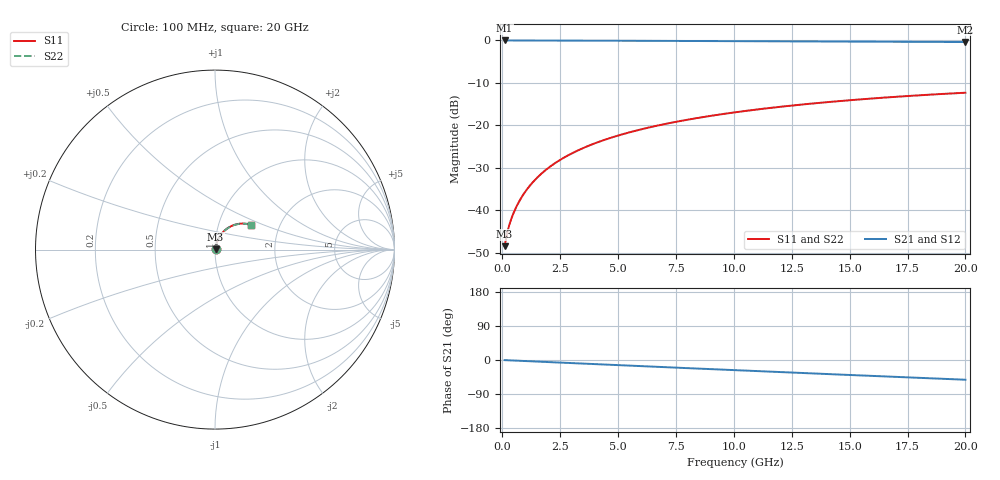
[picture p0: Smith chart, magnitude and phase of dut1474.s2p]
! Touchstone file exported from HFSS 2026.1.0
!  File:  C:/ffzhzh/LocalFiles/Ansys_Project_Files/temp_train_BSMRDL_1474_1783181142_43440.aedt
!  Generated:  12:07:02 AM Jul  5, 2026
!  Design:  BSMRDL
!  Project:  temp_train_BSMRDL_1474_1783181142_43440
! Variables:
!  h_bsmrdl = 3.75um
!  h_ox = 20um
!  h_rdl = 5um
!  h_sub = 80um
!  h_tmrdl = 5um
!  h_tsv = 80um
!  h_via = 3um
!  l_bsmrdl = 880.7um
!  l_sub = 1280.7um
!  l_tmrdl = 200um
!  m_sub = 200um
!  pitch = 41.72um
!  r_tsv = 6um
!  s_tmrdl = 10um
!  w_bsmrdl = 29.12um
!  w_sub = 500um
!  w_tmrdl = 12um
!  x_tsv_center1 = 206um
!  x_tsv_center2 = 1115.82um
!  x_tsv_center3 = 1327.82um
!  x_tsv_center4 = 2237.64um
!  x_tsv_center5 = 2449.64um
!  x_tsv_center6 = 3359.46um
# GHz S MA R 50.000000
! Terminal data exported
! Port[1] = BSM_RDL1_1_T1
! Port[2] = BSM_RDL1_1_T2
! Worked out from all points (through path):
!   200 points, 100 MHz to 20 GHz, reference 50 ohm
!   highest |S21| = -0.03 dB at 100 MHz (marker M1); lowest = -0.4 dB at 20 GHz (marker M2)
!   group delay of S21, straight-line fit = 7.22 ps
!   lowest |S11| = -48.4 dB at 100 MHz (marker M3), VSWR 1.01, Z = 50.3 + j0.206 ohm
!   |S11| at or under -10 dB: start of sweep to end of sweep
!   |S22| runs from -48.4 to -12.3 dB; largest |S21 - S12| = 9.3e-15
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0.1  0.003794 32.7  0.9968 -0.3  0.9968 -0.3  0.003794 32.7
! Gamma 0 0 0 0
! Port Impedance 50 0 50 0
0.2  0.005254 47.1  0.9965 -0.6  0.9965 -0.6  0.005254 47.1
0.3  0.006712 54.1  0.9961 -0.9  0.9961 -0.9  0.006712 54.1
0.4  0.008116 58.6  0.9959 -1.1  0.9959 -1.1  0.008117 58.6
0.5  0.009508 62.1  0.9957 -1.4  0.9957 -1.4  0.009509 62.1
0.6  0.01091 64.8  0.9956 -1.7  0.9956 -1.7  0.01091 64.8
0.8  0.01377 68.7  0.9954 -2.2  0.9954 -2.2  0.01378 68.7
1  0.0167 71.2  0.9952 -2.8  0.9952 -2.8  0.0167 71.1
1.2  0.01968 72.8  0.9951 -3.3  0.9951 -3.3  0.01968 72.8
1.4  0.02268 73.8  0.9949 -3.8  0.9949 -3.8  0.02268 73.8
1.7  0.02721 74.8  0.9946 -4.7  0.9946 -4.7  0.02721 74.7
2.2  0.03477 75.2  0.9941 -6.0  0.9941 -6.0  0.03477 75.2
2.8  0.04379 74.9  0.9933 -7.6  0.9933 -7.6  0.0438 74.8
3.5  0.0542 73.8  0.9923 -9.5  0.9923 -9.5  0.05421 73.8
4.2  0.06443 72.5  0.9911 -11.4  0.9911 -11.4  0.06444 72.4
5  0.07589 70.7  0.9895 -13.6  0.9895 -13.6  0.0759 70.7
6.8  0.1007 66.5  0.9858 -18.3  0.9858 -18.3  0.1008 66.5
8.3  0.1204 62.9  0.9825 -22.3  0.9825 -22.3  0.1205 62.8
10.1  0.1429 58.6  0.9783 -27.0  0.9783 -27.0  0.143 58.5
13.4  0.1808 50.6  0.9705 -35.4  0.9705 -35.4  0.1809 50.5
16.7  0.214 42.7  0.9626 -43.8  0.9626 -43.8  0.2141 42.5
20  0.2421 34.8  0.9552 -52.1  0.9552 -52.1  0.2422 34.5
